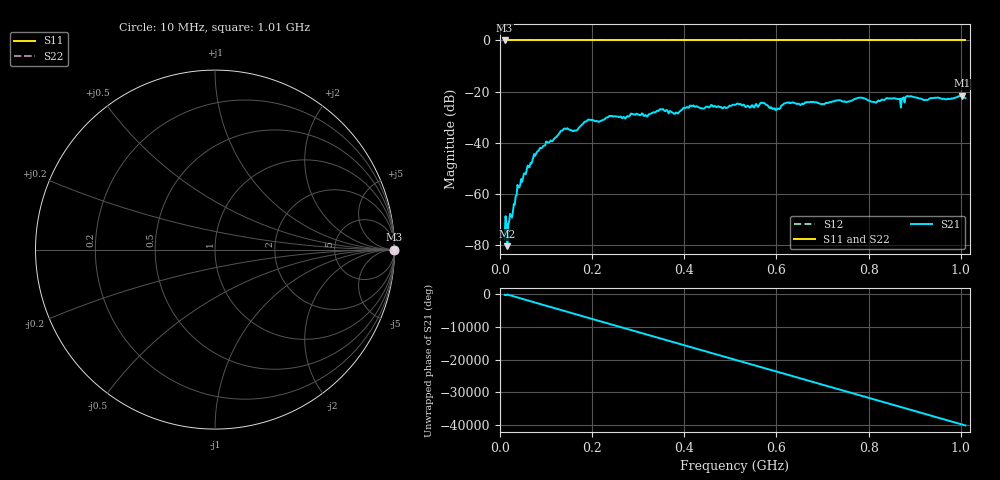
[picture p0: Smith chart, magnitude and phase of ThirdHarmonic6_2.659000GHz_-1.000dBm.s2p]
! 8/17/2025 6:07:11 AM
! C:\ANRITSUVNA\TEMP\TEMP.S2P
! CHANNEL.1
! TR.MEASUREMENT
! RAW.DATA
! RF.CORRECTION.OFF
! AVERAGING.OFF
! IF.BANDWIDTH: 5KHZ
! SWEEPTYPE:  FREQ.SWEEP(Linear)
! Reference Plane Port Info
! PORT:  PORT1  PORT2
! DISTANCE:  0  m  0  m
! TIME:  0  s  0  s
! PHASE.OFFSET:  0  deg.  0  deg.
! LOSS:  0  dB  0  dB
! REF.LOSS:  0  dB  0  dB
! REF.FREQ:  0  Hz  0  Hz
! Power Info
! POWER:  -20  dBm  -20  dBm
! EFF.POWER:  -20  dBm  -20  dBm
! SOURCE.ATTEN:  0  dB  0  dB
! TEST.ATTEN:  0  dB  0  dB
# GHZ S RI R 50.0
! FREQ.GHZ  S11RE  S11IM  S21RE  S21IM  S12RE  S12IM  S22RE  S22IM
!; PortSelection: Port_12
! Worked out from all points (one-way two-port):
!   501 points, 10 MHz to 1.01 GHz, reference 50 ohm
!   highest |S21| = -21.57 dB at 1.002 GHz (marker M1); lowest = -80.4 dB at 16 MHz (marker M2)
!   lowest |S11| = 0.0 dB at 10 MHz (marker M3)
!   |S11| at or under -10 dB: nowhere
!   |S22| runs from 0.0 to 0.0 dB; largest |S21 - S12| = 1.1
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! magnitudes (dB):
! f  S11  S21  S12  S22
! 10 MHz  0.0  -77.8  0.0  0.0
! 16 MHz  0.0  -80.4  0.0  0.0
! 20 MHz  0.0  -70.5  0.0  0.0
! 42 MHz  0.0  -57.4  0.0  0.0
! 78 MHz  0.0  -44.4  0.0  0.0
! 136 MHz  0.0  -35.2  0.0  0.0
! 164 MHz  0.0  -35.3  0.0  0.0
! 178 MHz  0.0  -32.9  0.0  0.0
! 194 MHz  0.0  -31.0  0.0  0.0
! 316 MHz  0.0  -29.1  0.0  0.0
! 344 MHz  0.0  -27.6  0.0  0.0
! 382 MHz  0.0  -28.2  0.0  0.0
! 416 MHz  0.0  -25.7  0.0  0.0
! 510 MHz  0.0  -25.2  0.0  0.0
! 570 MHz  0.0  -24.4  0.0  0.0
! 602 MHz  0.0  -26.6  0.0  0.0
! 620 MHz  0.0  -24.5  0.0  0.0
! 678 MHz  0.0  -24.1  0.0  0.0
! 814 MHz  0.0  -24.2  0.0  0.0
! 844 MHz  0.0  -22.7  0.0  0.0
! 1.002 GHz  0.0  -21.6  0.0  0.0
! 1.01 GHz  0.0  -22.5  0.0  0.0
